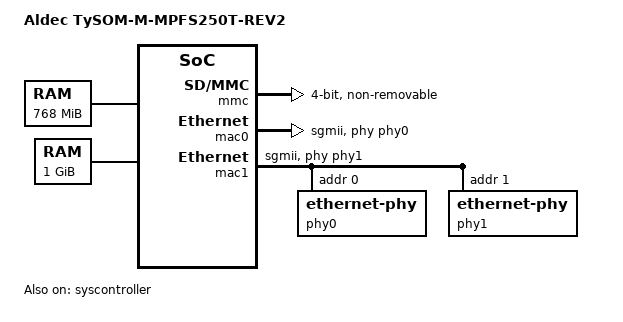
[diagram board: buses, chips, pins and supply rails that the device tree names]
// SPDX-License-Identifier: GPL-2.0
/*
 * Original all-in-one devicetree:
 * Copyright (C) 2020-2022 - Aldec
 * Rewritten to use includes:
 * Copyright (C) 2022-2023 - Conor Dooley <conor.dooley@microchip.com>
 */

/dts-v1/;

#include "../../../dts/upstream/src/riscv/microchip/mpfs.dtsi"

/* Clock frequency (in Hz) of the rtcclk */
#define MTIMER_FREQ	1000000

/ {
	#address-cells = <2>;
	#size-cells = <2>;
	model = "Aldec TySOM-M-MPFS250T-REV2";
	compatible = "aldec,tysom-m-mpfs250t-rev2", "microchip,mpfs";

	aliases {
		serial1 = &mmuart1;
		ethernet0 = &mac1;
	};

	chosen {
		stdout-path = "serial1:115200n8";
	};

	cpus {
		timebase-frequency = <MTIMER_FREQ>;
	};

	ddrc_cache_lo: memory@80000000 {
		device_type = "memory";
		reg = <0x0 0x80000000 0x0 0x30000000>;
		status = "okay";
	};

	ddrc_cache_hi: memory@1000000000 {
		device_type = "memory";
		reg = <0x10 0x0 0x0 0x40000000>;
		status = "okay";
	};
};

&refclk {
	clock-frequency = <125000000>;
};

&mmuart1 {
	status = "okay";
};

&mmc {
	status = "okay";
	pinctrl-names = "default";
	bus-width = <4>;
	cap-mmc-highspeed;
	mmc-ddr-3_3v;
	max-frequency = <200000000>;
	non-removable;
	no-sd;
	no-sdio;
	voltage-ranges = <3300 3300>;
};

&mac0 {
	phy-mode = "sgmii";
	phy-handle = <&phy0>;
};

&mac1 {
	status = "okay";
	phy-mode = "sgmii";
	phy-handle = <&phy1>;

	phy0: ethernet-phy@0 {
		reg = <0>;
	};

	phy1: ethernet-phy@1 {
		reg = <1>;
	};
};

&mbox {
	status = "okay";
};

&syscontroller {
	status = "okay";
};
